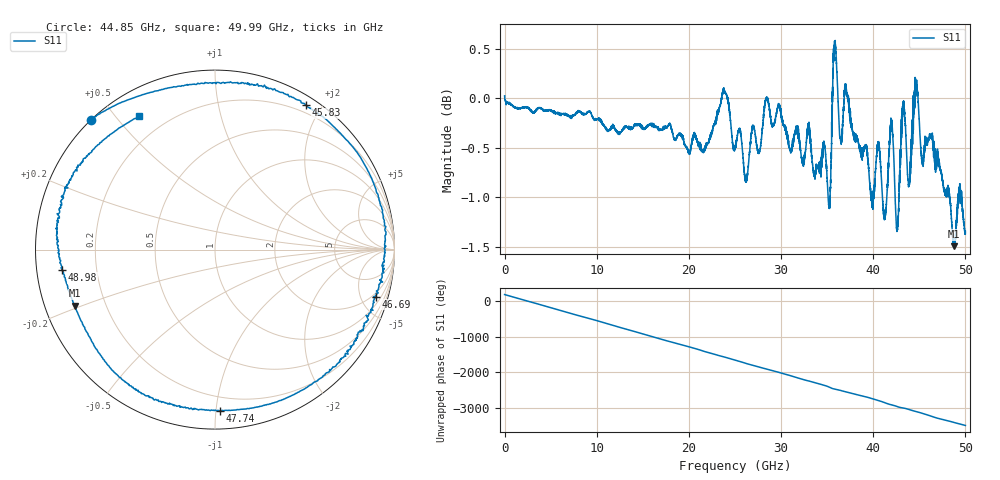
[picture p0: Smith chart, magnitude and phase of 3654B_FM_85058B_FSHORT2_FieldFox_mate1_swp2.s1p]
!Created with skrf (http://scikit-rf.org).
# Hz S RI R 50.0
!freq ReS11 ImS11
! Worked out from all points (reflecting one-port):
!   10000 points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, 5.3 MHz to 50 GHz, reference 50 ohm
!   lowest |S11| = -1.5 dB at 48.79 GHz (marker M1), VSWR 11.67, Z = 4.44 - j9.56 ohm
!   phase of S11 starts at 180 deg and turns -3661 deg over the sweep
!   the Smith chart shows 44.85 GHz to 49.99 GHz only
!   S11 on the Smith chart (normalised r, x): 44.85 GHz: -0.00, +0.43; 45.83 GHz: 0.11, +1.81; 46.69 GHz: 1.64, -6.57; 47.74 GHz: 0.11, -1.02; 48.98 GHz: 0.08, -0.07; 49.99 GHz: 0.10, +0.58
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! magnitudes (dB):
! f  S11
! 5.3 MHz  0.0
! 6.255 GHz  -0.2
! 12.51 GHz  -0.4
! 18.76 GHz  -0.4
! 23.85 GHz  0.1
! 25.01 GHz  -0.5
! 26.24 GHz  -0.8
! 28.46 GHz  0.0
! 31.26 GHz  -0.5
! 35.19 GHz  -1.1
! 35.86 GHz  0.5
! 36.45 GHz  -0.4
! 37.51 GHz  -0.2
! 39.86 GHz  -1.0
! 40.59 GHz  -0.4
! 41.23 GHz  -1.2
! 41.94 GHz  -0.2
! 42.57 GHz  -1.3
! 43.25 GHz  -0.1
! 43.76 GHz  -0.8
! 44.85 GHz  0.0
! 45.83 GHz  -0.4
! 46.69 GHz  -0.6
! 47.74 GHz  -0.9
! 48.79 GHz  -1.5
! 48.98 GHz  -1.3
! 49.99 GHz  -1.4
! 50 GHz  -1.3
